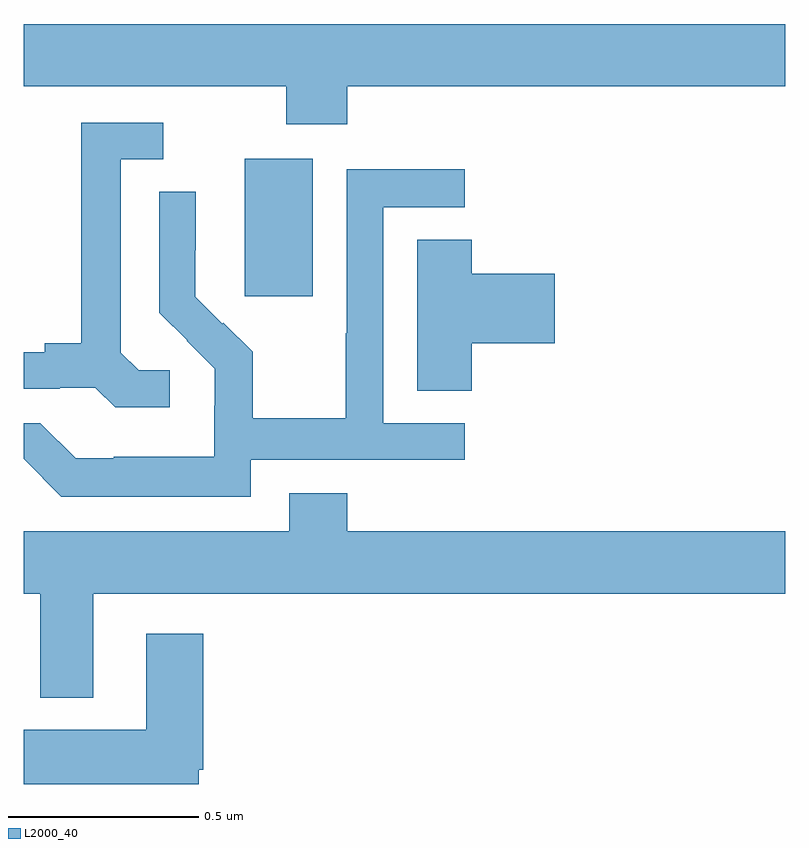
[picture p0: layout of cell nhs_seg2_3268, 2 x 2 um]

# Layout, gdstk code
import gdstk
lib = gdstk.Library(unit=1e-6, precision=1e-09)
def R(c, l, rs):  # rectangles x0, y0, x1, y1
    for r in rs: c.add(gdstk.rectangle(r[:2], r[2:], *l))
def P(c, l, *ps):  # polygons
    for p in ps: c.add(gdstk.Polygon(p, *l))
L2000_40 = (2000, 40)

nhs_seg2_3268 = lib.new_cell('nhs_seg2_3268')
R(nhs_seg2_3268, L2000_40, [(151.58,651.081,151.759,651.442)])
P(nhs_seg2_3268, L2000_40, [(151.85,651.632),(153,651.632),(153,651.796),(151,651.796),(151,651.632),(151.69,651.632),(151.69,651.533),(151.85,651.533)],
  [(151.384,650.886),(151.302,650.886),(151.255,650.933),(151.255,651.441),(151.366,651.441),(151.366,651.537),(151.151,651.537),(151.151,650.957),(151.055,650.957),(151.055,650.934),(151,650.934),(151,650.838),(151.094,650.838),(151.094,650.841),(151.188,650.841),(151.24,650.789),(151.384,650.789)],
  [(151.596,650.652),(152.158,650.652),(152.158,650.748),(151.944,650.748),(151.944,651.315),(152.158,651.315),(152.158,651.414),(151.848,651.414),(151.848,650.984),(151.846,650.984),(151.846,650.761),(151.601,650.761),(151.601,650.935),(151.524,651.012),(151.521,651.009),(151.451,651.08),(151.451,651.202),(151.452,651.202),(151.452,651.356),(151.356,651.356),(151.356,651.038),(151.429,650.965),(151.428,650.964),(151.502,650.89),(151.502,650.793),(151.5,650.793),(151.5,650.659),(151.237,650.659),(151.237,650.655),(151.137,650.655),(151.044,650.748),(151,650.748),(151,650.654),(151.099,650.555),(151.596,650.555)],
  [(152.177,650.957),(152.395,650.957),(152.395,651.14),(152.177,651.14),(152.177,651.23),(152.033,651.23),(152.033,650.833),(152.177,650.833)],
  [(151.183,650.3),(153,650.3),(153,650.464),(151.85,650.464),(151.85,650.563),(151.697,650.563),(151.697,650.464),(151,650.464),(151,650.3),(151.043,650.3),(151.043,650.027),(151.183,650.027)],
  [(151.459,649.838),(151.472,649.838),(151.472,650.194),(151.322,650.194),(151.322,649.942),(151,649.942),(151,649.8),(151.459,649.8)])

lib.write_gds('nhs_seg2_3268.gds')
